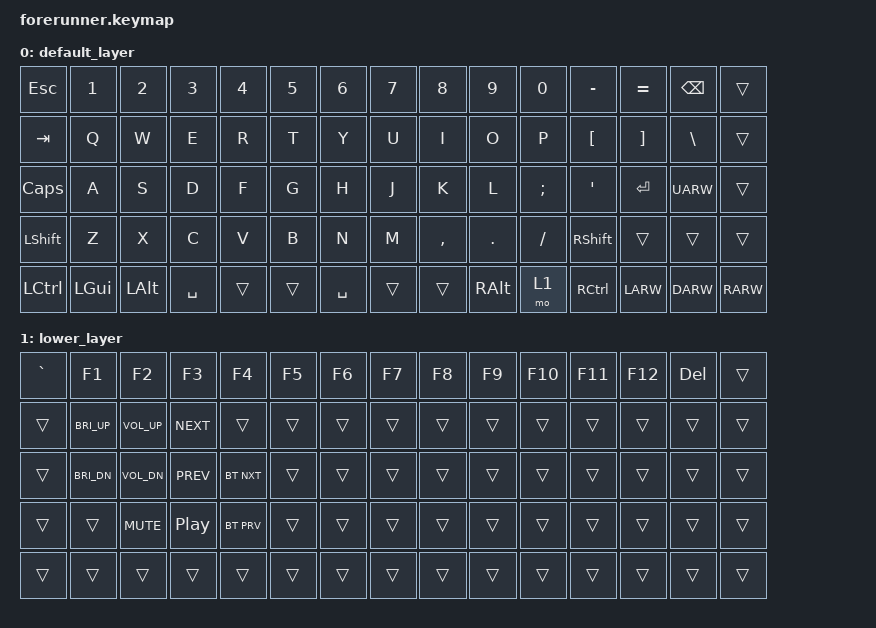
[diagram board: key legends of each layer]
#include <behaviors.dtsi>
#include <dt-bindings/zmk/keys.h>
#include <dt-bindings/zmk/bt.h>

/ {
        keymap {
                compatible = "zmk,keymap";

                default_layer {
                        bindings = <
                                &kp ESC    &kp N1    &kp N2    &kp N3     &kp N4     &kp N5               &kp N6     &kp N7  &kp N8     &kp N9    &kp N0    &kp MINUS    &kp EQUAL    &kp BSPC    &trans
                                &kp TAB    &kp Q     &kp W     &kp E      &kp R      &kp T                &kp Y      &kp U   &kp I      &kp O     &kp P     &kp LBKT     &kp RBKT     &kp BSLH    &trans
                                &kp CAPS   &kp A     &kp S     &kp D      &kp F      &kp G                &kp H      &kp J   &kp K      &kp L     &kp SEMI  &kp APOS     &kp RET      &kp UARW    &trans
                                &kp LSHFT  &kp Z     &kp X     &kp C      &kp V      &kp B                &kp N      &kp M   &kp COMMA  &kp DOT   &kp FSLH  &kp RSHIFT   &trans       &trans      &trans
                                &kp LCTRL  &kp LGUI  &kp LALT  &kp SPACE  &trans   &trans                 &kp SPACE  &trans  &trans     &kp RALT  &mo 1     &kp RCTRL    &kp LARW     &kp DARW    &kp RARW

                        >;
                };
                lower_layer {
                        bindings = <
                                &kp GRAVE       &kp F1             &kp F2         &kp F3         &kp F4        &kp F5    &kp F6    &kp F7   &kp F8   &kp F9  &kp F10 &kp F11 &kp F12 &kp DEL &trans
                                &trans          &kp C_BRI_UP       &kp C_VOL_UP   &kp C_NEXT     &trans        &trans    &trans    &trans   &trans   &trans  &trans  &trans  &trans  &trans  &trans
                                &trans          &kp C_BRI_DN       &kp C_VOL_DN   &kp C_PREV     &bt BT_NXT    &trans    &trans    &trans   &trans   &trans  &trans  &trans  &trans  &trans  &trans
                                &trans          &trans             &kp C_MUTE     &kp C_PP       &bt BT_PRV    &trans    &trans    &trans   &trans   &trans  &trans  &trans  &trans  &trans  &trans
                                &trans          &trans             &trans         &trans         &trans        &trans    &trans    &trans   &trans   &trans  &trans  &trans  &trans  &trans  &trans
                        >;
                };
        };
};
